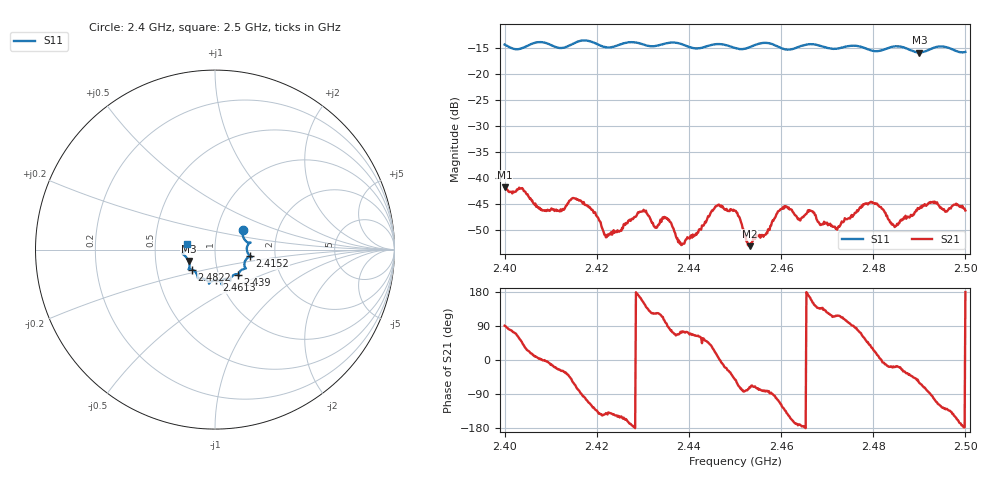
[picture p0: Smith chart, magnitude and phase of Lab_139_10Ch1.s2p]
# Hz S RI R 50
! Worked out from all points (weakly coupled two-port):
!   601 points, 2.4 GHz to 2.5 GHz, reference 50 ohm
!   highest |S21| = -41.88 dB at 2.4 GHz (marker M1); lowest = -53.2 dB at 2.4532 GHz (marker M2)
!   lowest |S11| = -15.9 dB at 2.49 GHz (marker M3), VSWR 1.38, Z = 36.9 - j4.85 ohm
!   |S11| at or under -10 dB: start of sweep to end of sweep
!   S12 and S22 are empty: the file has one direction only
!   S11 on the Smith chart (normalised r, x): 2.4 GHz: 1.33, +0.31; 2.4152 GHz: 1.48, -0.11; 2.439 GHz: 1.24, -0.36; 2.4613 GHz: 0.96, -0.34; 2.4822 GHz: 0.76, -0.17; 2.5 GHz: 0.72, +0.05
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2.4e9  0.1558 0.1108  -5.27e-05 0.00805  0 0  0 0
2.403667e9  0.1679 0.0522  0.0052 0.00596  0 0  0 0
2.408667e9  0.1957 0.0391  0.0048 -2.05e-05  0 0  0 0
2.415167e9  0.1947 -0.0358  0.00272 -0.00569  0 0  0 0
2.416667e9  0.2044 -0.0418  7.19e-05 -0.00592  0 0  0 0
2.422167e9  0.1688 -0.0615  -0.0021 -0.00167  0 0  0 0
2.429833e9  0.1608 -0.1076  -0.00434 0.00186  0 0  0 0
2.433333e9  0.1327 -0.1328  -0.00194 0.00293  0 0  0 0
2.435167e9  0.1324 -0.1456  -0.000419 0.004  0 0  0 0
2.439e9  0.1277 -0.1391  0.00064 0.00222  0 0  0 0
2.446e9  0.0849 -0.1735  0.00515 0.00132  0 0  0 0
2.45e9  0.0686 -0.1635  0.00297 -0.00377  0 0  0 0
2.453167e9  0.0377 -0.1762  0.000699 -0.00207  0 0  0 0
2.461333e9  0.00765 -0.1707  -0.00407 -0.00324  0 0  0 0
2.464e9  -0.0267 -0.1809  -0.00386 -0.000688  0 0  0 0
2.466667e9  -0.0331 -0.19  -0.00436 0.0019  0 0  0 0
2.471833e9  -0.0634 -0.1622  -0.00145 0.00289  0 0  0 0
2.478167e9  -0.0974 -0.1475  0.00315 0.00464  0 0  0 0
2.482167e9  -0.1283 -0.1118  0.00488 -0.000578  0 0  0 0
2.483333e9  -0.1394 -0.1102  0.00375 -0.00119  0 0  0 0
2.49e9  -0.1469 -0.0639  0.00247 -0.00436  0 0  0 0
2.5e9  -0.1587 0.0339  -0.00483 5.51e-05  0 0  0 0
